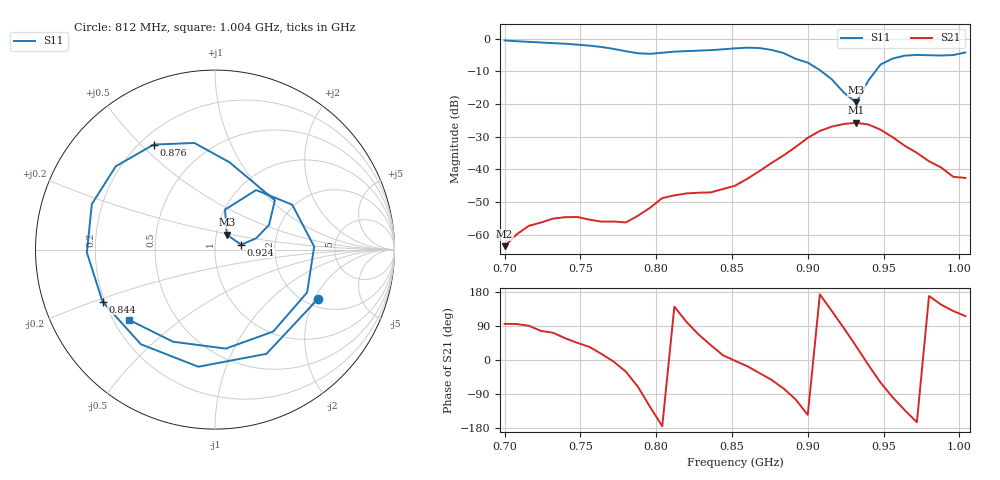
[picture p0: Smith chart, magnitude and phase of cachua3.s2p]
# Hz S RI R 50
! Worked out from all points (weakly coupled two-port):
!   39 points, 700 MHz to 1.004 GHz, reference 50 ohm
!   highest |S21| = -25.71 dB at 932 MHz (marker M1); lowest = -63.5 dB at 700 MHz (marker M2)
!   lowest |S11| = -19.5 dB at 932 MHz (marker M3), VSWR 1.24, Z = 56.2 + j9.41 ohm
!   |S11| at or under -10 dB: 909.1 MHz to 944.5 MHz (35.42 MHz wide, 3.82 % of centre)
!   S12 and S22 are empty: the file has one direction only
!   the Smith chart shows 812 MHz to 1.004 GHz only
!   S11 on the Smith chart (normalised r, x): 812 MHz: 2.32, -2.14; 844 MHz: 0.19, -0.21; 876 MHz: 0.25, +0.55; 924 MHz: 1.34, +0.07; 1.004 GHz: 0.26, -0.34
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7e8  0.7625 0.5555  -6.29e-05 0.000664  0 0  0 0
7.24e8  0.8423 -0.2474  0.000354 0.00149  0 0  0 0
7.4e8  0.46 -0.7031  0.000999 0.00156  0 0  0 0
7.56e8  -0.1936 -0.7612  0.0014 0.000958  0 0  0 0
7.72e8  -0.6688 -0.2052  0.00159 -0.000125  0 0  0 0
7.8e8  -0.6045 0.2241  0.00132 -0.000786  0 0  0 0
7.88e8  -0.2593 0.5421  0.000638 -0.00184  0 0  0 0
7.96e8  0.2367 0.539  -0.00145 -0.00214  0 0  0 0
8.04e8  0.5813 0.1925  -0.00362 -0.000329  0 0  0 0
8.12e8  0.5737 -0.2745  -0.0031 0.00252  0 0  0 0
8.28e8  -0.0929 -0.6527  0.00171 0.00405  0 0  0 0
8.44e8  -0.6268 -0.29  0.00487 0.0011  0 0  0 0
8.52e8  -0.714 -0.0155  0.00562 -0.000201  0 0  0 0
8.76e8  -0.3414 0.5853  0.00766 -0.00987  0 0  0 0
9e8  0.3336 0.2747  -0.0249 -0.0176  0 0  0 0
9.08e8  0.3013 0.1378  -0.0386 0.0047  0 0  0 0
9.24e8  0.1459 0.0273  0.00599 0.0492  0 0  0 0
9.32e8  0.0659 0.0828  0.042 0.0303  0 0  0 0
9.56e8  0.4304 0.2499  -0.00451 -0.0308  0 0  0 0
9.72e8  0.5133 -0.2389  -0.0172 -0.00489  0 0  0 0
9.88e8  0.06 -0.5516  -0.00888 0.00596  0 0  0 0
1.004e9  -0.4777 -0.3921  -0.00323 0.00666  0 0  0 0
